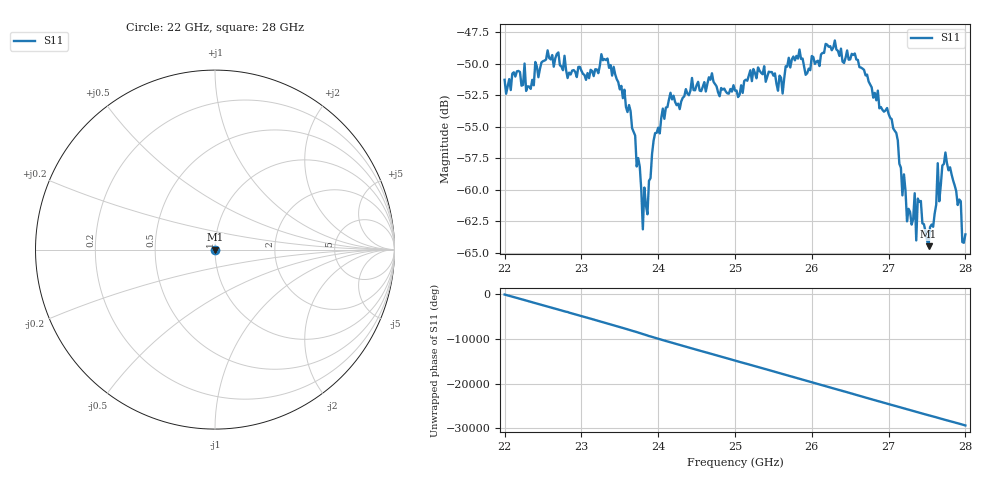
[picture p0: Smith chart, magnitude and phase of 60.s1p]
#  HZ  S  RI  R  50.00
! Rohde & Schwarz ZVA40 4Ports - Version 3.90 - 1145.1110k42 SN: 100403
! Date: 2023-10-04 08:54:57
! Measurement: S12
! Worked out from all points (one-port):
!   301 points, 22 GHz to 28 GHz, reference 50 ohm
!   lowest |S11| = -64.5 dB at 27.52 GHz (marker M1), VSWR 1.00, Z = 50 - j0.0382 ohm
!   |S11| at or under -10 dB: start of sweep to end of sweep
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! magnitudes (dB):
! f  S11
! 22 GHz  -51.3
! 22.76 GHz  -50.5
! 23.26 GHz  -49.3
! 23.5 GHz  -52.0
! 23.7 GHz  -55.7
! 23.76 GHz  -58.2
! 23.8 GHz  -63.1
! 23.82 GHz  -59.8
! 23.86 GHz  -61.9
! 23.96 GHz  -55.5
! 24.26 GHz  -53.2
! 25 GHz  -52.1
! 25.38 GHz  -50.2
! 25.62 GHz  -52.4
! 25.76 GHz  -49.4
! 26.5 GHz  -49.7
! 27.04 GHz  -54.4
! 27.26 GHz  -61.5
! 27.34 GHz  -60.3
! 27.36 GHz  -64.0
! 27.38 GHz  -60.7
! 27.42 GHz  -60.9
! 27.52 GHz  -64.5
! 27.62 GHz  -61.2
! 27.64 GHz  -57.9
! 27.66 GHz  -60.9
! 27.74 GHz  -57.0
! 28 GHz  -63.5
